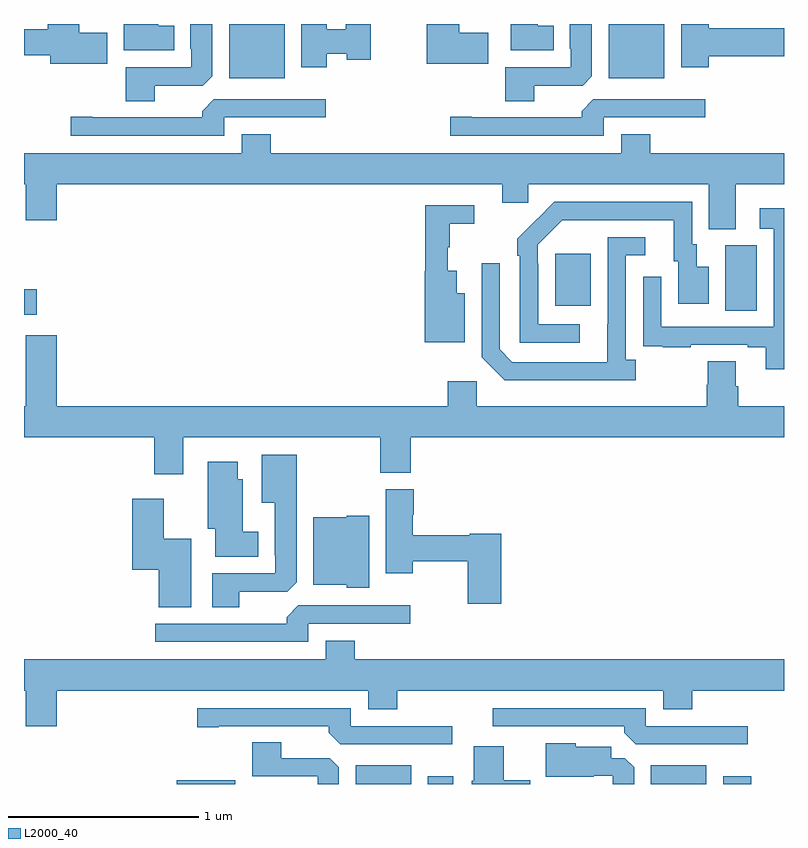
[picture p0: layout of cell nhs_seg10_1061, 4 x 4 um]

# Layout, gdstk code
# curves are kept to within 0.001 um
import gdstk
lib = gdstk.Library(unit=1e-6, precision=1e-09)
def R(c, l, rs):  # rectangles x0, y0, x1, y1
    for r in rs: c.add(gdstk.rectangle(r[:2], r[2:], *l))
def P(c, l, *ps):  # polygons
    for p in ps: c.add(gdstk.Polygon(p, *l))
L2000_40 = (2000, 40)

nhs_seg10_1061 = lib.new_cell('nhs_seg10_1061')
R(nhs_seg10_1061, L2000_40, [(165.803,1290.5,166.111,1290.52), (166.745,1290.5,167.038,1290.598), (167.126,1290.5,167.26,1290.541), (168.299,1290.5,168.592,1290.598), (168.68,1290.5,168.827,1290.541), (165,1292.969,165.067,1293.104), (168.692,1292.992,168.856,1293.336), (167.795,1293.017,167.983,1293.292), (166.079,1294.214,166.372,1294.5), (168.077,1294.214,168.37,1294.5)])
P(nhs_seg10_1061, L2000_40, [(166.594,1294.343),(166.698,1294.343),(166.698,1294.313),(166.824,1294.313),(166.824,1294.5),(166.694,1294.5),(166.694,1294.473),(166.594,1294.473),(166.594,1294.5),(166.46,1294.5),(166.46,1294.272),(166.594,1294.272)],
  [(168.605,1294.331),(169,1294.331),(169,1294.478),(168.605,1294.478),(168.605,1294.5),(168.458,1294.5),(168.458,1294.272),(168.605,1294.272)],
  [(165.688,1294.176),(165.942,1294.176),(165.991,1294.225),(165.991,1294.5),(165.875,1294.5),(165.875,1294.369),(165.879,1294.369),(165.879,1294.272),(165.536,1294.272),(165.536,1294.093),(165.688,1294.093)],
  [(165.439,1294.455),(165.292,1294.455),(165.292,1294.5),(165.125,1294.5),(165.125,1294.472),(165,1294.472),(165,1294.336),(165.137,1294.336),(165.137,1294.292),(165.439,1294.292)],
  [(165.79,1294.492),(165.706,1294.492),(165.706,1294.5),(165.524,1294.5),(165.524,1294.361),(165.79,1294.361)],
  [(167.686,1294.176),(167.94,1294.176),(167.989,1294.225),(167.989,1294.5),(167.873,1294.5),(167.873,1294.369),(167.877,1294.369),(167.877,1294.272),(167.534,1294.272),(167.534,1294.093),(167.686,1294.093)],
  [(167.788,1294.492),(167.704,1294.492),(167.704,1294.5),(167.561,1294.5),(167.561,1294.361),(167.788,1294.361)],
  [(167.443,1294.455),(167.29,1294.455),(167.29,1294.5),(167.12,1294.5),(167.12,1294.292),(167.443,1294.292)],
  [(166.053,1294.008),(166.588,1294.008),(166.588,1294.104),(165.999,1294.104),(165.938,1294.042),(165.938,1294.008),(165.358,1294.008),(165.358,1294.013),(165.246,1294.013),(165.246,1293.912),(166.053,1293.912)],
  [(168.051,1294.008),(168.586,1294.008),(168.586,1294.104),(167.997,1294.104),(167.936,1294.042),(167.936,1294.008),(167.356,1294.008),(167.356,1294.013),(167.244,1294.013),(167.244,1293.912),(168.051,1293.912)],
  [(168.745,1293.656),(169,1293.656),(169,1293.82),(168.296,1293.82),(168.296,1293.919),(168.143,1293.919),(168.143,1293.82),(166.298,1293.82),(166.298,1293.919),(166.145,1293.919),(166.145,1293.82),(165,1293.82),(165,1293.656),(165.008,1293.656),(165.008,1293.468),(165.172,1293.468),(165.172,1293.656),(167.516,1293.656),(167.516,1293.558),(167.655,1293.558),(167.655,1293.656),(168.605,1293.656),(168.605,1293.421),(168.745,1293.421)],
  [(167.926,1292.919),(167.706,1292.919),(167.706,1293.239),(167.703,1293.239),(167.703,1293.339),(167.832,1293.468),(168.419,1293.468),(168.419,1293.252),(168.443,1293.252),(168.443,1293.027),(168.604,1293.027),(168.604,1293.223),(168.541,1293.223),(168.541,1293.342),(168.516,1293.342),(168.516,1293.564),(167.792,1293.564),(167.595,1293.369),(167.595,1293.281),(167.61,1293.281),(167.61,1292.823),(167.926,1292.823)],
  [(167.32,1293.082),(167.278,1293.082),(167.278,1293.202),(167.231,1293.202),(167.231,1293.326),(167.242,1293.326),(167.242,1293.448),(167.371,1293.448),(167.371,1293.546),(167.113,1293.546),(167.113,1293.198),(167.108,1293.198),(167.108,1292.825),(167.32,1292.825)],
  [(169,1293.529),(168.873,1293.529),(168.873,1293.423),(168.945,1293.423),(168.945,1292.907),(168.354,1292.907),(168.354,1293.169),(168.258,1293.169),(168.258,1292.914),(168.259,1292.914),(168.259,1292.805),(168.361,1292.805),(168.361,1292.799),(168.509,1292.799),(168.509,1292.811),(168.809,1292.811),(168.809,1292.799),(168.905,1292.799),(168.905,1292.682),(169,1292.682)],
  [(168.22,1292.734),(168.168,1292.734),(168.168,1293.282),(168.271,1293.282),(168.271,1293.378),(168.072,1293.378),(168.071,1292.721),(167.571,1292.721),(167.505,1292.787),(167.505,1293.241),(167.409,1293.241),(167.409,1292.745),(167.53,1292.624),(168.22,1292.624)],
  [(165.838,1292.324),(166.876,1292.324),(166.876,1292.137),(167.036,1292.137),(167.036,1292.324),(169,1292.324),(169,1292.488),(168.758,1292.488),(168.758,1292.594),(168.745,1292.594),(168.745,1292.726),(168.598,1292.726),(168.598,1292.601),(168.593,1292.601),(168.593,1292.488),(167.382,1292.488),(167.382,1292.62),(167.231,1292.62),(167.231,1292.488),(165.172,1292.488),(165.172,1292.863),(165.008,1292.863),(165.008,1292.488),(165,1292.488),(165,1292.324),(165.686,1292.324),(165.686,1292.13),(165.838,1292.13)],
  [(166.132,1291.512),(166.386,1291.512),(166.435,1291.561),(166.435,1292.233),(166.25,1292.233),(166.25,1291.979),(166.319,1291.979),(166.319,1291.705),(166.323,1291.705),(166.323,1291.608),(165.992,1291.608),(165.992,1291.429),(166.132,1291.429)],
  [(166.234,1291.828),(166.15,1291.828),(166.15,1292.103),(166.126,1292.103),(166.126,1292.197),(165.968,1292.197),(165.968,1291.844),(166.007,1291.844),(166.007,1291.697),(166.234,1291.697)],
  [(167.513,1291.816),(167.346,1291.816),(167.346,1291.808),(167.046,1291.808),(167.046,1291.916),(167.051,1291.916),(167.051,1292.052),(166.904,1292.052),(166.904,1291.608),(167.046,1291.608),(167.046,1291.672),(167.335,1291.672),(167.335,1291.449),(167.513,1291.449)],
  [(165.88,1291.791),(165.736,1291.791),(165.736,1292.002),(165.569,1292.002),(165.569,1291.628),(165.71,1291.628),(165.71,1291.431),(165.88,1291.431)],
  [(166.816,1291.912),(166.698,1291.912),(166.698,1291.903),(166.523,1291.903),(166.523,1291.55),(166.698,1291.55),(166.698,1291.532),(166.816,1291.532)],
  [(166.497,1291.344),(167.032,1291.344),(167.032,1291.44),(166.443,1291.44),(166.382,1291.378),(166.382,1291.344),(165.69,1291.344),(165.69,1291.248),(166.497,1291.248)],
  [(165.172,1290.992),(166.811,1290.992),(166.811,1290.893),(166.964,1290.893),(166.964,1290.992),(168.365,1290.992),(168.365,1290.893),(168.518,1290.893),(168.518,1290.992),(169,1290.992),(169,1291.156),(166.742,1291.156),(166.742,1291.255),(166.589,1291.255),(166.589,1291.156),(165,1291.156),(165,1290.992),(165.008,1290.992),(165.008,1290.804),(165.172,1290.804)],
  [(168.808,1290.804),(168.273,1290.804),(168.273,1290.9),(167.466,1290.9),(167.466,1290.804),(168.158,1290.804),(168.158,1290.77),(168.219,1290.708),(168.808,1290.708)],
  [(167.254,1290.804),(166.719,1290.804),(166.719,1290.9),(165.912,1290.9),(165.912,1290.799),(166.024,1290.799),(166.024,1290.804),(166.604,1290.804),(166.604,1290.77),(166.665,1290.708),(167.254,1290.708)],
  [(166.657,1290.587),(166.608,1290.636),(166.354,1290.636),(166.354,1290.719),(166.202,1290.719),(166.202,1290.54),(166.545,1290.54),(166.545,1290.5),(166.657,1290.5)],
  [(168.211,1290.587),(168.162,1290.636),(168.091,1290.636),(168.091,1290.697),(167.904,1290.697),(167.904,1290.715),(167.747,1290.715),(167.747,1290.539),(167.999,1290.539),(167.999,1290.543),(168.099,1290.543),(168.099,1290.5),(168.211,1290.5)],
  [(167.665,1290.52),(167.524,1290.52),(167.524,1290.7),(167.366,1290.7),(167.366,1290.516),(167.357,1290.516),(167.357,1290.5),(167.665,1290.5)])

lib.write_gds('nhs_seg10_1061.gds')
